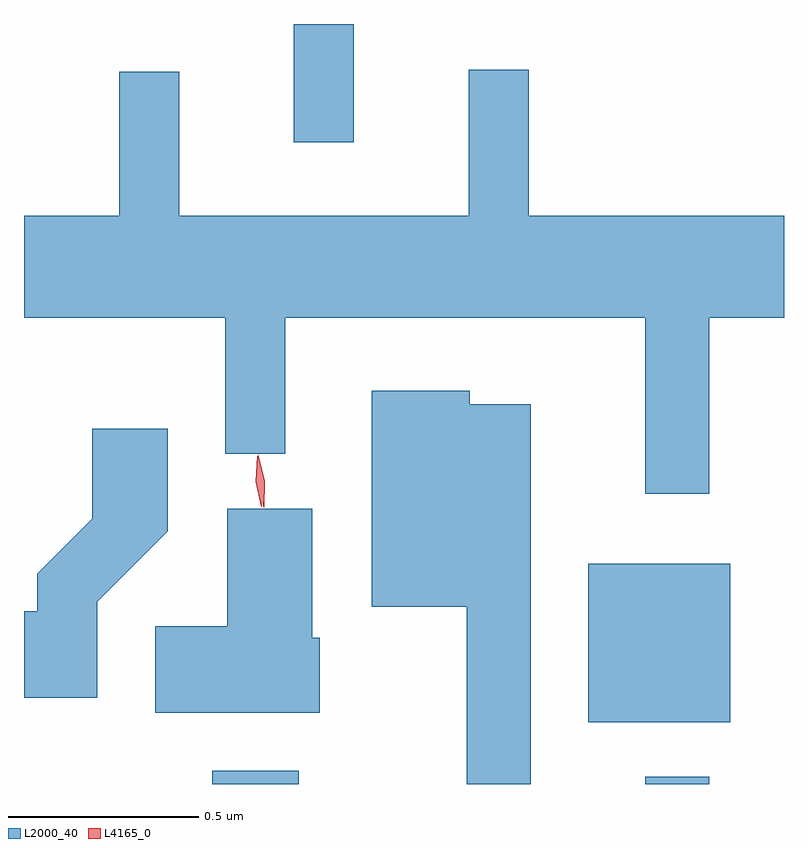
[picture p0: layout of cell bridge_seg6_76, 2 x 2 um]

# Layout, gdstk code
import gdstk
lib = gdstk.Library(unit=1e-6, precision=1e-09)
def R(c, l, rs):  # rectangles x0, y0, x1, y1
    for r in rs: c.add(gdstk.rectangle(r[:2], r[2:], *l))
def P(c, l, *ps):  # polygons
    for p in ps: c.add(gdstk.Polygon(p, *l))
L2000_40 = (2000, 40)
L4165_0 = (4165, 0)

bridge_seg6_76 = lib.new_cell('bridge_seg6_76')
R(bridge_seg6_76, L2000_40, [(1358.541,1648.709,1358.769,1648.744), (1359.681,1648.709,1359.849,1648.728), (1359.531,1648.871,1359.904,1649.289), (1358.756,1650.398,1358.914,1650.709)])
P(bridge_seg6_76, L2000_40, [(1359.849,1649.936),(1360.046,1649.936),(1360.046,1650.204),(1359.374,1650.204),(1359.374,1650.588),(1359.216,1650.588),(1359.216,1650.204),(1358.454,1650.204),(1358.454,1650.583),(1358.296,1650.583),(1358.296,1650.204),(1358.046,1650.204),(1358.046,1649.936),(1358.576,1649.936),(1358.576,1649.578),(1358.734,1649.578),(1358.734,1649.936),(1359.681,1649.936),(1359.681,1649.473),(1359.849,1649.473)],
  [(1359.379,1649.709),(1359.219,1649.709),(1359.219,1649.744),(1358.961,1649.744),(1358.961,1649.176),(1359.211,1649.176),(1359.211,1648.709),(1359.379,1648.709)],
  [(1358.239,1649.189),(1358.424,1649.374),(1358.424,1649.644),(1358.226,1649.644),(1358.226,1649.407),(1358.081,1649.262),(1358.081,1649.164),(1358.046,1649.164),(1358.046,1648.936),(1358.239,1648.936)],
  [(1358.824,1649.094),(1358.804,1649.094),(1358.804,1649.434),(1358.581,1649.434),(1358.581,1649.124),(1358.391,1649.124),(1358.391,1648.896),(1358.824,1648.896)])
P(bridge_seg6_76, L4165_0, [(1358.677,1649.437),(1358.66,1649.505),(1358.662,1649.575),(1358.663,1649.575),(1358.663,1649.575),(1358.68,1649.507),(1358.678,1649.437),(1358.678,1649.437)],
  [(1358.67,1649.439),(1358.67,1649.439),(1358.656,1649.505),(1358.66,1649.571),(1358.661,1649.572),(1358.661,1649.571),(1358.676,1649.506),(1358.671,1649.439)])

lib.write_gds('bridge_seg6_76.gds')
